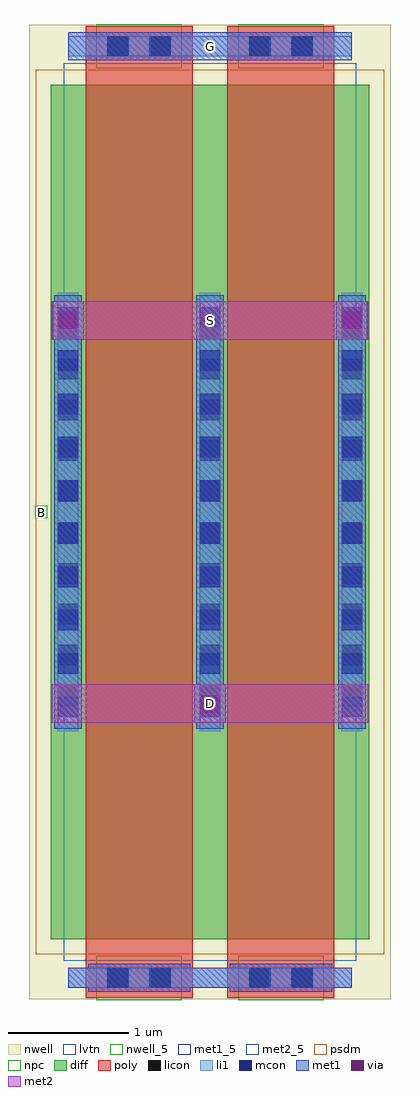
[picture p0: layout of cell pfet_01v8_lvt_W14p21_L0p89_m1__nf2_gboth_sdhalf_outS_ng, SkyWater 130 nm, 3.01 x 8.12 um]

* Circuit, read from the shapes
.subckt pfet_01v8_lvt_W14p21_L0p89_m1__nf2_gboth_sdhalf_outS_ng B D G S
XM1 D G S B sky130_fd_pr__pfet_01v8_lvt w=7.11 l=0.89 m=2
.ends

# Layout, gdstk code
import gdstk
lib = gdstk.Library(unit=1e-6, precision=1e-09)
def R(c, l, rs):  # rectangles x0, y0, x1, y1
    for r in rs: c.add(gdstk.rectangle(r[:2], r[2:], *l))
def A(c, l, x, y, w, h, nx, ny, dx, dy):  # array of equal rectangles
    R(c, l, [(x+i*dx, y+j*dy, x+i*dx+w, y+j*dy+h) for i in range(nx) for j in range(ny)])
nwell_5 = (64, 5)
nwell = (64, 20)
diff = (65, 20)
poly = (66, 20)
licon = (66, 44)
li1 = (67, 20)
mcon = (67, 44)
met1_5 = (68, 5)
met1 = (68, 20)
via = (68, 44)
met2_5 = (69, 5)
met2 = (69, 20)
psdm = (94, 20)
npc = (95, 20)
lvtn = (125, 44)

sky130_fd_pr__pfet_01v8_ = lib.new_cell('sky130_fd_pr__pfet_01v8_lvt_Y946PY')
R(sky130_fd_pr__pfet_01v8_, nwell, [(-1.505,-4.055,1.505,4.055)])
R(sky130_fd_pr__pfet_01v8_, diff, [(-1.325,-3.555,1.325,3.555)])
R(sky130_fd_pr__pfet_01v8_, poly, [(-1.035,-4.04,-0.145,4.04), (0.145,-4.04,1.035,4.04)])
A(sky130_fd_pr__pfet_01v8_, licon, -1.265, -1.615, 0.17, 0.17, 3, 10, 1.18, 0.34)
R(sky130_fd_pr__pfet_01v8_, licon, [(-0.845,-3.96,-0.675,-3.79), (-0.505,-3.96,-0.335,-3.79), (0.335,-3.96,0.505,-3.79), (0.675,-3.96,0.845,-3.79), (-0.845,3.79,-0.675,3.96), (-0.505,3.79,-0.335,3.96), (0.335,3.79,0.505,3.96), (0.675,3.79,0.845,3.96)])
A(sky130_fd_pr__pfet_01v8_, li1, -1.265, -1.825, 0.17, 3.65, 3, 1, 1.18, 0)
R(sky130_fd_pr__pfet_01v8_, li1, [(-1.18,-3.96,1.18,-3.79), (-1.18,3.79,1.18,3.96)])
A(sky130_fd_pr__pfet_01v8_, mcon, -1.265, -1.705, 0.17, 0.17, 3, 10, 1.18, 0.36)
R(sky130_fd_pr__pfet_01v8_, mcon, [(-0.855,-3.96,-0.685,-3.79), (-0.495,-3.96,-0.325,-3.79), (0.325,-3.96,0.495,-3.79), (0.685,-3.96,0.855,-3.79), (-0.855,3.79,-0.685,3.96), (-0.495,3.79,-0.325,3.96), (0.325,3.79,0.495,3.96), (0.685,3.79,0.855,3.96)])
A(sky130_fd_pr__pfet_01v8_, met1, -1.295, -1.805, 0.23, 3.61, 3, 1, 1.18, 0)
R(sky130_fd_pr__pfet_01v8_, met1, [(-1.015,-3.99,-0.165,-3.96), (0.165,-3.99,1.015,-3.96), (-1.18,-3.96,1.18,-3.79), (-1.015,-3.79,-0.165,-3.76), (0.165,-3.79,1.015,-3.76), (-1.015,3.76,-0.165,3.79), (0.165,3.76,1.015,3.79), (-1.18,3.79,1.18,3.96), (-1.015,3.96,-0.165,3.99), (0.165,3.96,1.015,3.99)])
R(sky130_fd_pr__pfet_01v8_, psdm, [(-1.45,-3.68,1.45,3.68)])
R(sky130_fd_pr__pfet_01v8_, npc, [(-0.945,-4.06,-0.235,-3.69), (0.235,-4.06,0.945,-3.69), (-0.945,3.69,-0.235,4.06), (0.235,3.69,0.945,4.06)])
R(sky130_fd_pr__pfet_01v8_, lvtn, [(-1.215,-3.735,1.215,3.735)])
sky130_fd_pr__pfet_01v8_.add(gdstk.Label('D0', (-1.18,0), layer=67, texttype=5))
sky130_fd_pr__pfet_01v8_.add(gdstk.Label('G', (0.59,3.875), layer=67, texttype=5))
sky130_fd_pr__pfet_01v8_.add(gdstk.Label('G', (-0.59,3.875), layer=67, texttype=5))
sky130_fd_pr__pfet_01v8_.add(gdstk.Label('S1', (0,0), layer=67, texttype=5))

pfet_01v8_lvt_w14p21_l0p = lib.new_cell('pfet_01v8_lvt_W14p21_L0p89_m1__nf2_gboth_sdhalf_outS_ng')
R(pfet_01v8_lvt_w14p21_l0p, nwell_5, [(0.05,4.005,0.15,4.105)])
R(pfet_01v8_lvt_w14p21_l0p, nwell, [(0.05,4.005,0.15,4.105)])
R(pfet_01v8_lvt_w14p21_l0p, met1_5, [(0.325,7.815,2.685,8.045)])
R(pfet_01v8_lvt_w14p21_l0p, met1, [(1.375,2.3,1.635,2.62), (0.195,5.49,0.455,5.81), (2.555,5.49,2.815,5.81), (0.325,7.815,2.685,8.045)])
R(pfet_01v8_lvt_w14p21_l0p, via, [(1.43,2.385,1.58,2.535), (0.25,5.575,0.4,5.725), (2.61,5.575,2.76,5.725)])
R(pfet_01v8_lvt_w14p21_l0p, met2_5, [(0.19,2.3,2.82,2.62), (0.19,5.49,2.82,5.81)])
R(pfet_01v8_lvt_w14p21_l0p, met2, [(0.19,2.3,2.82,2.62), (0.19,5.49,2.82,5.81)])
pfet_01v8_lvt_w14p21_l0p.add(gdstk.Reference(sky130_fd_pr__pfet_01v8_, (1.505,4.055)))
pfet_01v8_lvt_w14p21_l0p.add(gdstk.Label('S', (1.505,5.65), layer=69, texttype=5))
pfet_01v8_lvt_w14p21_l0p.add(gdstk.Label('D', (1.505,2.46), layer=69, texttype=5))
pfet_01v8_lvt_w14p21_l0p.add(gdstk.Label('G', (1.505,7.93), layer=68, texttype=5))
pfet_01v8_lvt_w14p21_l0p.add(gdstk.Label('B', (0.1,4.055), layer=64, texttype=5))

lib.write_gds('pfet_01v8_lvt_W14p21_L0p89_m1__nf2_gboth_sdhalf_outS_ng.gds')
